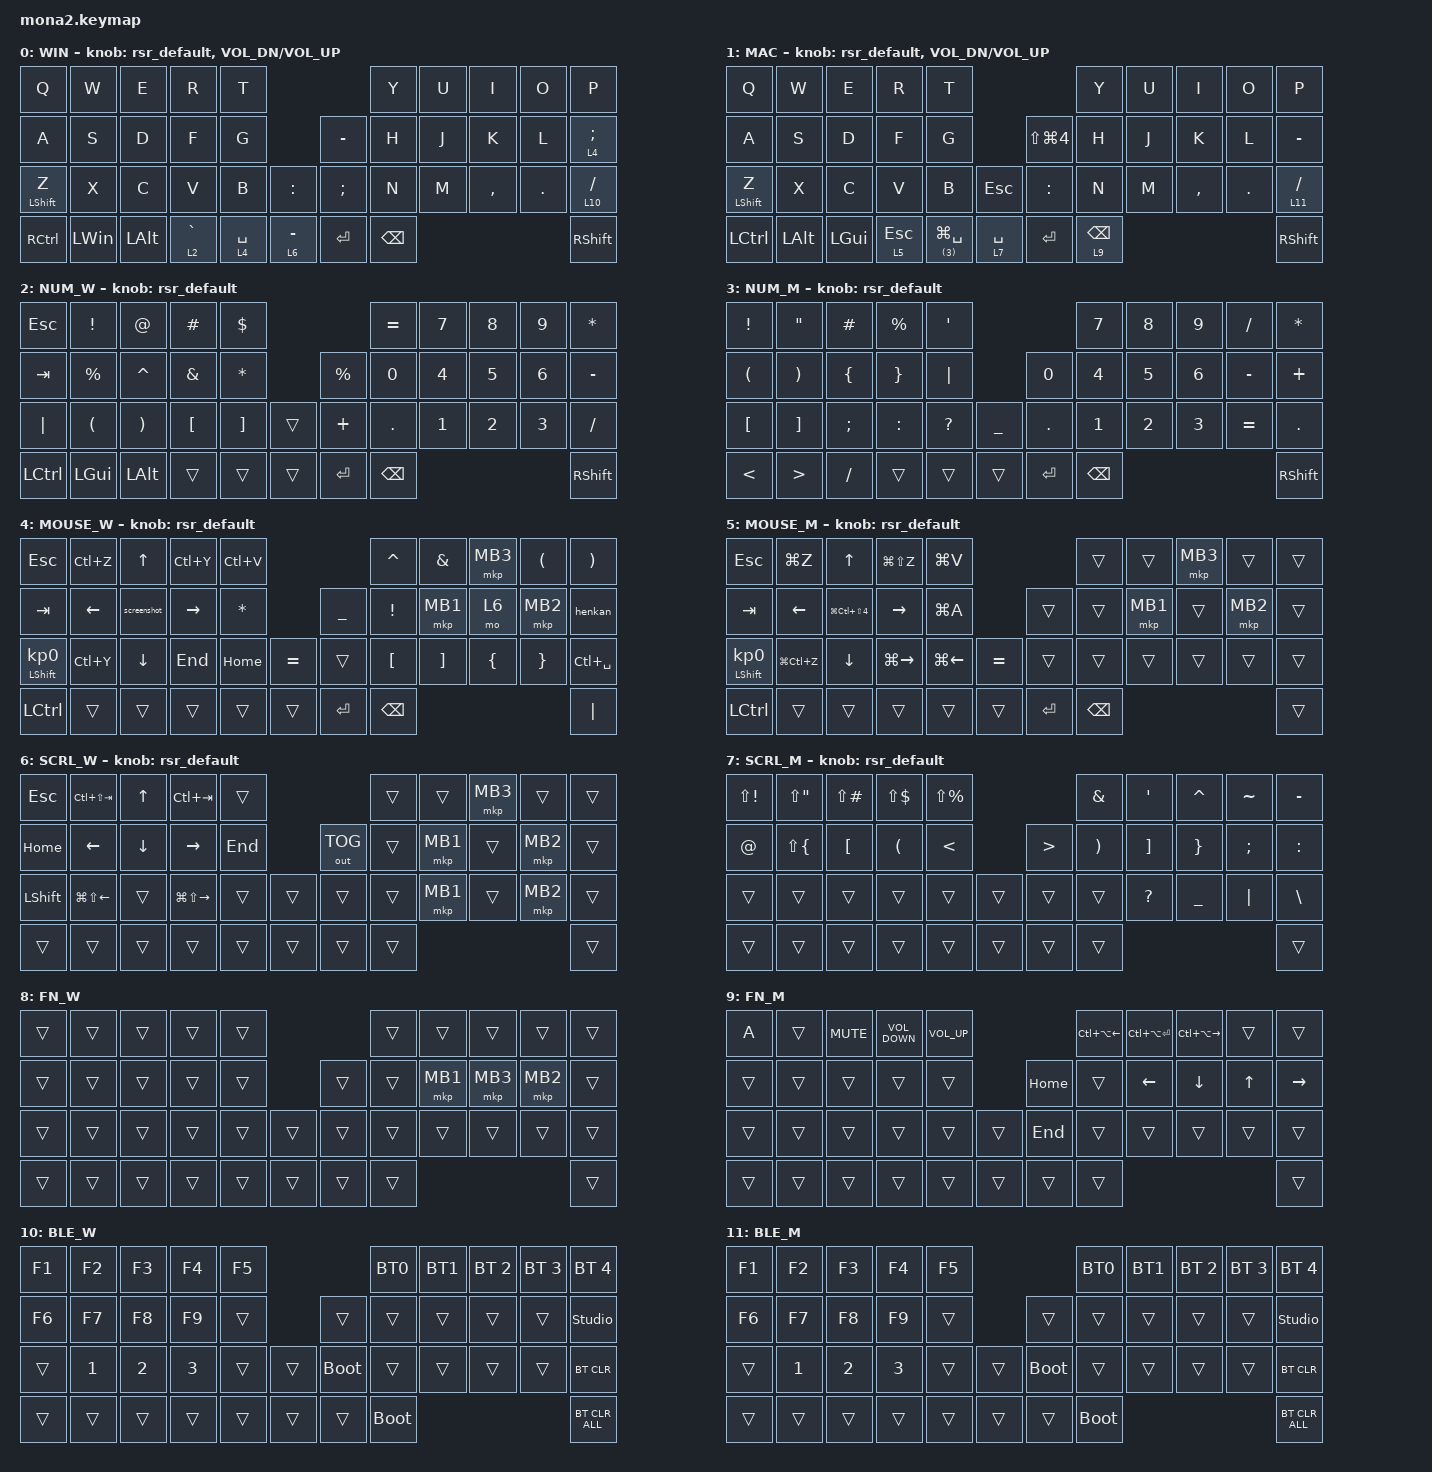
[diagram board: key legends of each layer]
#include <input/processors.dtsi>
#include <dt-bindings/zmk/input_transform.h>
#include <zephyr/dt-bindings/input/input-event-codes.h>
#include <behaviors/runtime-sensor-rotate.dtsi>
#include <behaviors.dtsi>
#include <dt-bindings/zmk/bt.h>
#include <dt-bindings/zmk/keys.h>
#include <dt-bindings/zmk/outputs.h>
#include <dt-bindings/zmk/pointing.h>

/* ZMK 側で 10 が定義済みなので警告回避のため一旦 undef */

#undef ZMK_POINTING_DEFAULT_SCRL_VAL

#define ZMK_POINTING_DEFAULT_SCRL_VAL 100

&mt {
    flavor = "balanced";
    quick-tap-ms = <0>;
};

&lt {
    quick-tap-ms = <200>;
    flavor = "balanced";
};

&msc {
    delay-ms = <0>;
    time-to-max-speed-ms = <0>;
    acceleration-exponent = <0>;
};

/ {
    combos {
        compatible = "zmk,combos";

        layer1_ESC {
            bindings = <&lt 1 ESC>;
            key-positions = <39 38>;
        };

        tab {
            bindings = <&kp TAB>;
            key-positions = <11 12>;
        };

        lang2 {
            bindings = <&kp LANG2>;
            key-positions = <13 12>;
        };

        LANG {
            bindings = <&kp LANG1>;
            key-positions = <17 18>;
        };
    };

    macros {
        to_layer_0: to_layer_0 {
            compatible = "zmk,behavior-macro-one-param";
            #binding-cells = <1>;
            bindings = <&to 0 &macro_param_1to1 &kp MACRO_PLACEHOLDER>;
            label = "TO_LAYER_0";
        };

        BT0: BT0 {
            compatible = "zmk,behavior-macro";
            #binding-cells = <0>;
            bindings =
                <&tog_off 0 &tog_off 1>,
                <&macro_wait_time 200>,
                <&bt BT_SEL 0>,
                <&macro_wait_time 500>,
                <&tog_on 0>;

            label = "BT0";
        };

        BT1: BT1 {
            compatible = "zmk,behavior-macro";
            #binding-cells = <0>;
            bindings =
                <&tog_off 0 &tog_off 1>,
                <&macro_wait_time 200>,
                <&bt BT_SEL 1>,
                <&macro_wait_time 500>,
                <&tog_on 1>;

            label = "BT1";
        };

        screenshot: screenshot {
            compatible = "zmk,behavior-macro";
            #binding-cells = <0>;
            bindings =
                <&macro_press>,
                <&kp LEFT_GUI &kp RSHIFT>,
                <&macro_wait_time 20>,
                <&macro_tap>,
                <&kp S>,
                <&macro_release>,
                <&kp LEFT_GUI &kp RSHIFT>;

            label = "SCREENSHOT";
        };

        henkan: henkan {
            compatible = "zmk,behavior-macro";
            #binding-cells = <0>;
            bindings =
                <&macro_press>,
                <&kp LEFT_ALT>,
                <&macro_wait_time 20>,
                <&macro_tap>,
                <&kp GRAVE>,
                <&macro_release>,
                <&kp LEFT_ALT>;

            label = "HENKAN";
        };
    };

    behaviors {
        lt_to_layer_0: lt_to_layer_0 {
            compatible = "zmk,behavior-hold-tap";
            label = "LAYER_TAP_TO_0";
            bindings = <&mo>, <&to_layer_0>;

            #binding-cells = <2>;
            tapping-term-ms = <200>;
        };

        tp_repeat_mo1: tp_repeat_mo1 {
            compatible = "zmk,behavior-hold-tap";
            label = "TP_REPEAT_MO1";
            bindings = <&mo>, <&key_repeat>;

            #binding-cells = <2>;
            tapping-term-ms = <200>;
        };

        // エンコーダ用 runtime-configurable sensor rotate
        // デフォルトはスクロール (cw=SCRL_DOWN, ccw=SCRL_UP)
        // DYA Studio Web UI から レイヤーごとに cw/ccw の binding を
        // kp C_VOL_UP/DN や kp LEFT/RIGHT などへ動的変更可能

        rsr_default: rsr_default {
            compatible = "zmk,behavior-runtime-sensor-rotate";
            #sensor-binding-cells = <0>;
            tap-ms = <16>;
            cw-binding = <&msc SCRL_DOWN>;
            ccw-binding = <&msc SCRL_UP>;
        };

        tog_on: toggle_layer_on_only {
            compatible = "zmk,behavior-toggle-layer";
            #binding-cells = <1>;
            display-name = "Toggle Layer On";
            toggle-mode = "on";
        };

        tog_off: toggle_layer_off_only {
            compatible = "zmk,behavior-toggle-layer";
            #binding-cells = <1>;
            display-name = "Toggle Layer Off";
            toggle-mode = "off";
        };

        zfold: zfold {
            compatible = "zmk,behavior-hold-tap";
            label = "ZFOLD";
            bindings = <&kp>, <&kp>;

            #binding-cells = <2>;
            tapping-term-ms = <300>;
            flavor = "hold-preferred";
            quick-tap-ms = <150>;
            hold-while-undecided;
        };

        zfoldZ: zfoldZ {
            compatible = "zmk,behavior-tap-dance";
            label = "ZFOLDZ";
            #binding-cells = <0>;
            bindings = <&zfold LEFT_SHIFT Z>, <&kp LS(Z)>;
        };
    };

    keymap {
        compatible = "zmk,keymap";

        win_layer {
            display-name = "WIN";
            bindings = <
&kp Q             &kp W         &kp E         &kp R        &kp T                                      &kp Y          &kp U  &kp I      &kp O    &kp P
&kp A             &kp S         &kp D         &kp F        &kp G                       &kp MINUS      &kp H          &kp J  &kp K      &kp L    &lt 4 SEMICOLON
&mt LEFT_SHIFT Z  &kp X         &kp C         &kp V        &kp B        &kp COLON      &kp SEMICOLON  &kp N          &kp M  &kp COMMA  &kp DOT  &lt 10 SLASH
&kp RCTRL         &kp LEFT_WIN  &kp LEFT_ALT  &lt 2 GRAVE  &lt 4 SPACE  &lt 6 MINUS    &kp ENTER      &kp BACKSPACE                             &kp RIGHT_SHIFT
            >;

            sensor-bindings = <&rsr_default>, <&inc_dec_kp C_VOL_DN C_VOL_UP>;
        };

        mac_layer {
            display-name = "MAC";
            bindings = <
&kp Q             &kp W         &kp E         &kp R         &kp T                                                   &kp Y            &kp U  &kp I      &kp O    &kp P
&kp A             &kp S         &kp D         &kp F         &kp G                             &kp LS(LG(NUMBER_4))  &kp H            &kp J  &kp K      &kp L    &kp MINUS
&mt LEFT_SHIFT Z  &kp X         &kp C         &kp V         &kp B              &kp ESCAPE     &kp COLON             &kp N            &kp M  &kp COMMA  &kp DOT  &lt 11 SLASH
&kp LCTRL         &kp LEFT_ALT  &kp LEFT_GUI  &lt 5 ESCAPE  &lt (3) LG(SPACE)  &lt 7 SPACE    &kp ENTER             &lt 9 BACKSPACE                             &kp RIGHT_SHIFT
            >;

            sensor-bindings = <&rsr_default>, <&inc_dec_kp C_VOL_DN C_VOL_UP>;
        };

        num_win {
            display-name = "NUM_W";
            bindings = <
&kp ESCAPE  &kp EXCLAMATION       &kp AT_SIGN            &kp HASH          &kp DOLLAR                                &kp EQUAL      &kp NUMBER_7  &kp NUMBER_8  &kp NUMBER_9  &kp ASTERISK
&kp TAB     &kp PERCENT           &kp CARET              &kp AMPERSAND     &kp ASTERISK                 &kp PERCENT  &kp NUMBER_0   &kp NUMBER_4  &kp NUMBER_5  &kp NUMBER_6  &kp MINUS
&kp PIPE    &kp LEFT_PARENTHESIS  &kp RIGHT_PARENTHESIS  &kp LEFT_BRACKET  &kp RIGHT_BRACKET  &trans    &kp PLUS     &kp DOT        &kp NUMBER_1  &kp NUMBER_2  &kp NUMBER_3  &kp SLASH
&kp LCTRL   &kp LEFT_GUI          &kp LEFT_ALT           &trans            &trans             &trans    &kp ENTER    &kp BACKSPACE                                            &kp RIGHT_SHIFT
            >;

            sensor-bindings = <&rsr_default>;
        };

        num_mac {
            display-name = "NUM_M";
            bindings = <
&kp EXCLAMATION       &kp DOUBLE_QUOTES      &kp HASH        &kp PERCENT      &kp SQT                                     &kp N7         &kp N8        &kp N9        &kp SLASH  &kp ASTERISK
&kp LEFT_PARENTHESIS  &kp RIGHT_PARENTHESIS  &kp LEFT_BRACE  &kp RIGHT_BRACE  &kp PIPE                        &kp N0      &kp NUMBER_4   &kp N5        &kp NUMBER_6  &kp MINUS  &kp PLUS
&kp LEFT_BRACKET      &kp RIGHT_BRACKET      &kp SEMICOLON   &kp COLON        &kp QUESTION  &kp UNDERSCORE    &kp PERIOD  &kp NUMBER_1   &kp NUMBER_2  &kp NUMBER_3  &kp EQUAL  &kp PERIOD
&kp LESS_THAN         &kp GREATER_THAN       &kp SLASH       &trans           &trans        &trans            &kp ENTER   &kp BACKSPACE                                         &kp RIGHT_SHIFT
            >;

            sensor-bindings = <&rsr_default>;
        };

        mouse_win {
            display-name = "MOUSE_W";
            bindings = <
&kp ESCAPE                  &kp LC(Z)       &kp UP_ARROW    &kp LC(Y)        &kp LC(V)                                  &kp CARET         &kp AMPERSAND      &mkp MB3        &kp LEFT_PARENTHESIS  &kp RIGHT_PARENTHESIS
&kp TAB                     &kp LEFT_ARROW  &screenshot     &kp RIGHT_ARROW  &kp ASTERISK               &kp UNDERSCORE  &kp EXCLAMATION   &mkp MB1           &mo 6           &mkp MB2              &henkan
&mt LEFT_SHIFT KP_NUMBER_0  &kp LC(Y)       &kp DOWN_ARROW  &kp END          &kp HOME      &kp EQUAL    &trans          &kp LEFT_BRACKET  &kp RIGHT_BRACKET  &kp LEFT_BRACE  &kp RIGHT_BRACE       &kp LC(SPACE)
&kp LCTRL                   &trans          &trans          &trans           &trans        &trans       &kp ENTER       &kp BACKSPACE                                                              &kp PIPE
            >;

            sensor-bindings = <&rsr_default>;
        };

        mouse_mac {
            display-name = "MOUSE_M";
            bindings = <
&kp ESCAPE                  &kp LG(Z)       &kp UP_ARROW              &kp LG(LS(Z))    &kp LG(V)                             &trans         &trans    &mkp MB3  &trans    &trans
&kp TAB                     &kp LEFT_ARROW  &kp LG(LC(LS(NUMBER_4)))  &kp RIGHT_ARROW  &kp LG(A)                  &trans     &trans         &mkp MB1  &trans    &mkp MB2  &trans
&mt LEFT_SHIFT KP_NUMBER_0  &kp LG(LC(Z))   &kp DOWN_ARROW            &kp LG(RIGHT)    &kp LG(LEFT)  &kp EQUAL    &trans     &trans         &trans    &trans    &trans    &trans
&kp LCTRL                   &trans          &trans                    &trans           &trans        &trans       &kp ENTER  &kp BACKSPACE                                &trans
            >;

            sensor-bindings = <&rsr_default>;
        };

        scroll_win {
            display-name = "SCRL_W";
            bindings = <
&kp ESCAPE      &kp LC(LS(TAB))         &kp UP_ARROW    &kp LC(TAB)              &trans                           &trans  &trans    &mkp MB3  &trans    &trans
&kp HOME        &kp LEFT_ARROW          &kp DOWN_ARROW  &kp RIGHT_ARROW          &kp END            &out OUT_TOG  &trans  &mkp MB1  &trans    &mkp MB2  &trans
&kp LEFT_SHIFT  &kp LG(LS(LEFT_ARROW))  &trans          &kp LG(LS(RIGHT_ARROW))  &trans   &trans    &trans        &trans  &mkp MB1  &trans    &mkp MB2  &trans
&trans          &trans                  &trans          &trans                   &trans   &trans    &trans        &trans                                &trans
            >;

            sensor-bindings = <&rsr_default>;
        };

        specialchara {
            display-name = "SCRL_M";
            bindings = <
&kp LS(EXCLAMATION)  &kp LS(DOUBLE_QUOTES)  &kp LS(POUND)     &kp LS(DOLLAR)        &kp LS(PERCENT)                              &kp AMPERSAND          &kp SQT            &kp CARET        &kp TILDE      &kp MINUS
&kp AT_SIGN          &kp LS(LEFT_BRACE)     &kp LEFT_BRACKET  &kp LEFT_PARENTHESIS  &kp LESS_THAN              &kp GREATER_THAN  &kp RIGHT_PARENTHESIS  &kp RIGHT_BRACKET  &kp RIGHT_BRACE  &kp SEMICOLON  &kp COLON
&trans               &trans                 &trans            &trans                &trans           &trans    &trans            &trans                 &kp QUESTION       &kp UNDERSCORE   &kp PIPE       &kp BACKSLASH
&trans               &trans                 &trans            &trans                &trans           &trans    &trans            &trans                                                                    &trans
            >;

            sensor-bindings = <&rsr_default>;
        };

        function_win {
            display-name = "FN_W";
            bindings = <
&trans  &trans  &trans  &trans  &trans                    &trans  &trans    &trans    &trans    &trans
&trans  &trans  &trans  &trans  &trans            &trans  &trans  &mkp MB1  &mkp MB3  &mkp MB2  &trans
&trans  &trans  &trans  &trans  &trans  &trans    &trans  &trans  &trans    &trans    &trans    &trans
&trans  &trans  &trans  &trans  &trans  &trans    &trans  &trans                                &trans
            >;
        };

        function_mac {
            display-name = "FN_M";
            bindings = <
&kp A   &trans  &kp K_MUTE  &kp C_VOLUME_DOWN  &kp C_VOLUME_UP                      &kp LC(LA(LEFT_ARROW))  &kp LC(LA(ENTER))  &kp LC(LA(RIGHT_ARROW))  &trans        &trans
&trans  &trans  &trans      &trans             &trans                     &kp HOME  &trans                  &kp LEFT_ARROW     &kp DOWN                 &kp UP_ARROW  &kp RIGHT_ARROW
&trans  &trans  &trans      &trans             &trans           &trans    &kp END   &trans                  &trans             &trans                   &trans        &trans
&trans  &trans  &trans      &trans             &trans           &trans    &trans    &trans                                                                            &trans
            >;
        };

        ble_win {
            display-name = "BLE_W";
            bindings = <
&kp F1  &kp F2        &kp F3        &kp F4        &kp F5                         &BT0         &BT1    &bt BT_SEL 2  &bt BT_SEL 3  &bt BT_SEL 4
&kp F6  &kp F7        &kp F8        &kp F9        &trans            &trans       &trans       &trans  &trans        &trans        &studio_unlock
&trans  &kp NUMBER_1  &kp NUMBER_2  &kp NUMBER_3  &trans  &trans    &bootloader  &trans       &trans  &trans        &trans        &bt BT_CLR
&trans  &trans        &trans        &trans        &trans  &trans    &trans       &bootloader                                      &bt BT_CLR_ALL
            >;
        };

        ble_mac {
            display-name = "BLE_M";
            bindings = <
&kp F1  &kp F2        &kp F3        &kp F4        &kp F5                         &BT0         &BT1    &bt BT_SEL 2  &bt BT_SEL 3  &bt BT_SEL 4
&kp F6  &kp F7        &kp F8        &kp F9        &trans            &trans       &trans       &trans  &trans        &trans        &studio_unlock
&trans  &kp NUMBER_1  &kp NUMBER_2  &kp NUMBER_3  &trans  &trans    &bootloader  &trans       &trans  &trans        &trans        &bt BT_CLR
&trans  &trans        &trans        &trans        &trans  &trans    &trans       &bootloader                                      &bt BT_CLR_ALL
            >;
        };
    };
};
